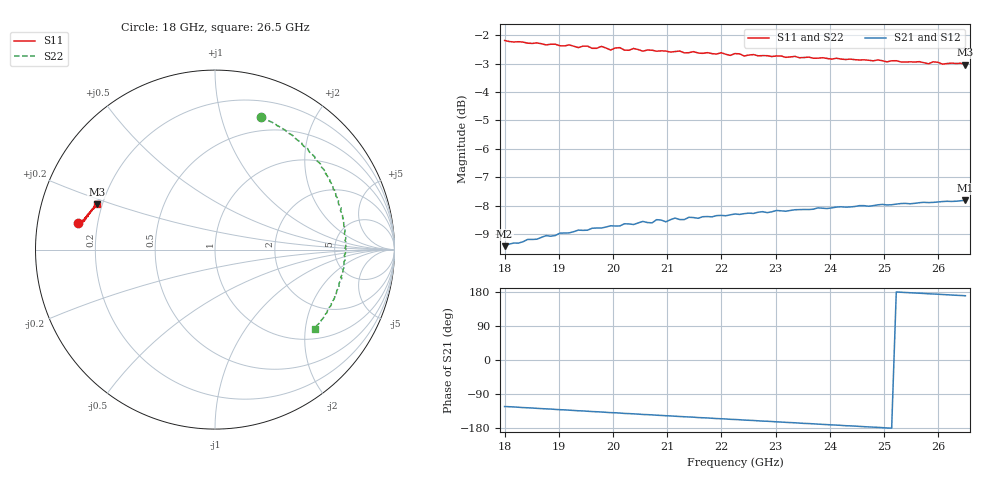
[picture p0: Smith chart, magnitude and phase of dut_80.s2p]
# GHZ S RI R 50.0
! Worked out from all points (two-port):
!   101 points, 18 GHz to 26.5 GHz, reference 50 ohm
!   highest |S21| = -7.81 dB at 26.5 GHz (marker M1); lowest = -9.4 dB at 18 GHz (marker M2)
!   |S21| within 3 dB of the highest: start of sweep to end of sweep
!   lowest |S11| = -3.0 dB at 26.5 GHz (marker M3), VSWR 5.78, Z = 8.93 + j8.95 ohm
!   |S11| at or under -10 dB: nowhere
!   |S22| runs from -3.0 to -2.1 dB; largest |S21 - S12| = 0.00064
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18  -0.7636 0.1483  -0.1829 -0.2839  -0.1827 -0.2838  0.2565 0.7406
18.765  -0.7499 0.1451  -0.2215 -0.2742  -0.2212 -0.274  0.3932 0.6642
19.445  -0.7448 0.1518  -0.2516 -0.2576  -0.2512 -0.2575  0.4843 0.588
20.21  -0.7312 0.1576  -0.2874 -0.2328  -0.287 -0.2328  0.5875 0.4781
20.89  -0.7269 0.1665  -0.3124 -0.2082  -0.3119 -0.2082  0.6389 0.3802
21.825  -0.7144 0.1829  -0.3411 -0.1684  -0.3407 -0.1684  0.7028 0.2339
21.995  -0.7164 0.1856  -0.3468 -0.1616  -0.3465 -0.1617  0.6986 0.2173
22.165  -0.7086 0.184  -0.3518 -0.1527  -0.3514 -0.1529  0.7122 0.1745
22.25  -0.7128 0.1897  -0.3543 -0.1503  -0.3539 -0.1504  0.7109 0.1766
22.42  -0.706 0.187  -0.3586 -0.1409  -0.3583 -0.141  0.7177 0.1362
22.59  -0.7073 0.1985  -0.3615 -0.1345  -0.361 -0.1346  0.7247 0.1244
23.695  -0.6919 0.2123  -0.3844 -0.0789  -0.3839 -0.079  0.7252 -0.0567
24.12  -0.6896 0.2197  -0.3917 -0.0567  -0.3912 -0.0569  0.7136 -0.1134
24.29  -0.687 0.215  -0.393 -0.0456  -0.3925 -0.0458  0.7 -0.1544
25.14  -0.6769 0.2343  -0.3995 -0.00131  -0.3991 -0.00156  0.6685 -0.2628
25.31  -0.6758 0.2272  -0.4014 0.00841  -0.4009 0.00814  0.6475 -0.2967
25.48  -0.67 0.2446  -0.4007 0.0176  -0.4002 0.0173  0.6464 -0.3116
25.65  -0.675 0.2322  -0.402 0.0264  -0.4016 0.0261  0.6277 -0.3377
26.075  -0.666 0.2367  -0.4016 0.0504  -0.4013 0.0503  0.5897 -0.3959
26.245  -0.6607 0.2589  -0.4004 0.0602  -0.4002 0.0598  0.5862 -0.4057
26.415  -0.667 0.2411  -0.4002 0.0689  -0.3999 0.0685  0.5618 -0.4339
26.5  -0.6586 0.2518  -0.4001 0.0737  -0.3998 0.0733  0.5591 -0.442
